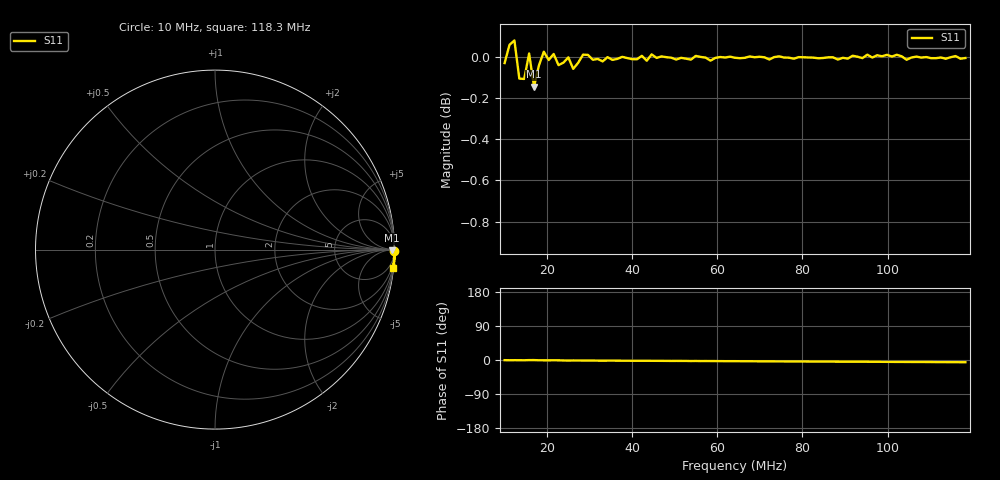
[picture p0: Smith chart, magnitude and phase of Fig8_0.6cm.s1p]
#  HZ  S  DB  R  50.00
! Rohde & Schwarz ZVB20 4Ports - Version 3.90 - 1145.1010k22 SN: 100142
! Date: 2023-02-16 16:11:35
! Measurement: S11
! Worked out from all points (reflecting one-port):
!   95 points, 10 MHz to 118.3 MHz, reference 50 ohm
!   lowest |S11| = -0.1 dB at 16.91 MHz (marker M1), VSWR 120.85, Z = 5.68e+03 - j1.43e+03 ohm
!   phase of S11 starts at -0 deg and turns -5 deg over the sweep
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1e7  -0.03 -0.4
1.115214e7  0.06 -0.7
1.230429e7  0.08 -0.5
1.345643e7  -0.10 -0.6
1.460858e7  -0.11 -0.7
1.576072e7  0.02 -0.3
1.691287e7  -0.14 -0.2
1.806501e7  -0.04 -0.7
1.921716e7  0.03 -0.8
2.03693e7  -0.01 -0.8
2.152145e7  0.01 -0.6
2.267359e7  -0.04 -0.8
2.382574e7  -0.03 -1.2
2.497788e7  -0.00 -1.5
2.613003e7  -0.06 -1.3
2.843431e7  0.01 -1.4
3.304289e7  -0.02 -1.8
3.534718e7  -0.01 -1.6
3.765147e7  0.00 -2.0
5.147721e7  -0.00 -2.4
5.37815e7  -0.01 -2.7
5.493364e7  0.01 -2.6
5.608579e7  0.00 -2.8
6.530294e7  -0.01 -3.2
7.797653e7  -0.01 -3.9
9.180227e7  0.01 -4.6
1.05628e8  -0.00 -5.2
1.183016e8  -0.00 -5.9
